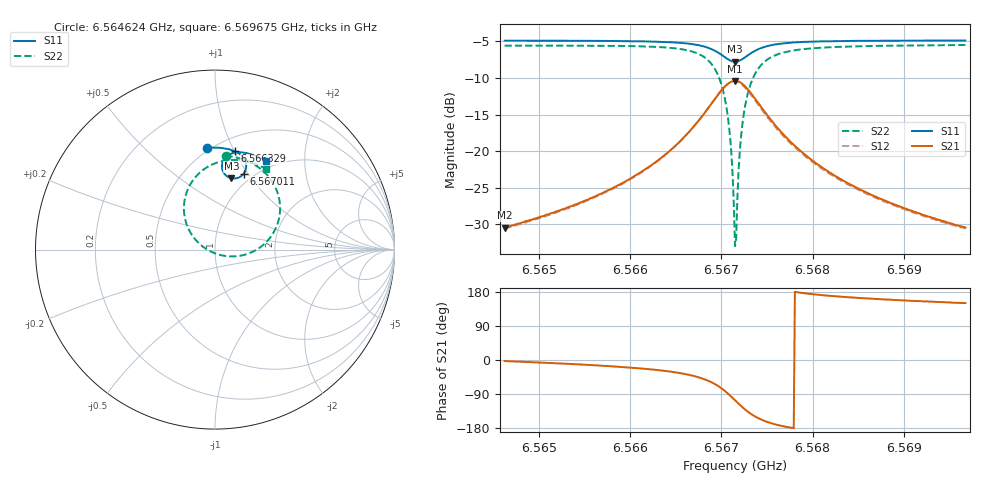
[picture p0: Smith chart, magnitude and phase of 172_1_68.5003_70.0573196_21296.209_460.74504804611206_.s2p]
#  HZ  S  RI  R  50.00
! Rohde & Schwarz Vector Network Analyzer
! Rohde-Schwarz,ZNB20-2Port,1311601062101988,3.16
! Created: UTC 3/20/2024, 5:11:22 PM
! freq[Hz]  re:S11  im:S11  re:S21  im:S21  re:S12  im:S12  re:S22  im:S22
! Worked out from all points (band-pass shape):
!   401 points, 6.564624 GHz to 6.569675 GHz, reference 50 ohm
!   highest |S21| = -10.40 dB at 6.56715 GHz (marker M1); lowest = -30.5 dB at 6.564624 GHz (marker M2)
!   |S21| within 3 dB of the highest: 6.566898 GHz to 6.567404 GHz (505.6 kHz wide, 0.0077 % of centre)
!   lowest |S11| = -7.8 dB at 6.56715 GHz (marker M3), VSWR 2.38, Z = 42.4 + j40.4 ohm
!   |S11| at or under -10 dB: nowhere
!   |S22| runs from -33.0 to -5.5 dB; largest |S21 - S12| = 0.015
!   S11 on the Smith chart (normalised r, x): 6.564624 GHz: 0.48, +0.81; 6.566329 GHz: 0.63, +1.01; 6.567011 GHz: 0.90, +0.95; 6.569675 GHz: 0.89, +1.31
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6.5646244e9  -0.0422 0.5675  0.03 -0.0013  0.0296 -0.00185  0.0587 0.5227
6.5654704e9  0.0282 0.567  0.0439 -0.00932  0.0433 -0.00999  0.142 0.5064
6.5663165e9  0.1102 0.5482  0.0782 -0.0398  0.077 -0.0406  0.2623 0.4429
6.5663291e9  0.1116 0.5475  0.0792 -0.0406  0.0779 -0.0416  0.2646 0.4408
6.5666069e9  0.1452 0.5261  0.1015 -0.0771  0.1 -0.0786  0.3247 0.3693
6.566809e9  0.1693 0.4909  0.1148 -0.1381  0.1121 -0.141  0.3619 0.2513
6.5669226e9  0.1732 0.4562  0.1033 -0.1992  0.0981 -0.203  0.3453 0.1351
6.567011e9  0.1593 0.4223  0.0622 -0.257  0.0532 -0.2604  0.2701 0.027
6.5670489e9  0.1457 0.4092  0.0309 -0.2786  0.0198 -0.2803  0.2116 -0.0112
6.5670868e9  0.1277 0.3996  -0.00877 -0.2928  -0.0214 -0.2922  0.1385 -0.0346
6.567112e9  0.1135 0.3965  -0.0383 -0.2962  -0.0517 -0.2935  0.0846 -0.038
6.5671373e9  0.0988 0.3965  -0.069 -0.2938  -0.0824 -0.2886  0.0299 -0.0304
6.5671499e9  0.0914 0.3977  -0.0842 -0.2901  -0.0973 -0.2838  0.00326 -0.0222
6.5671752e9  0.0772 0.4025  -0.1133 -0.2789  -0.1252 -0.2701  -0.0464 0.00186
6.5672004e9  0.0648 0.4104  -0.1387 -0.2623  -0.1489 -0.2517  -0.0892 0.0347
6.5672383e9  0.0504 0.4258  -0.1686 -0.2307  -0.1758 -0.2184  -0.1367 0.0944
6.5672888e9  0.0403 0.4493  -0.1911 -0.184  -0.1944 -0.1716  -0.1684 0.1789
6.5673519e9  0.04 0.4767  -0.1972 -0.1306  -0.1968 -0.1199  -0.1699 0.2726
6.5675792e9  0.0782 0.5289  -0.1509 -0.0289  -0.1475 -0.0243  -0.0666 0.4441
6.5679959e9  0.1414 0.5422  -0.0859 0.00948  -0.0839 0.0107  0.0761 0.4985
6.568842e9  0.2233 0.5233  -0.0419 0.0159  -0.0408 0.0162  0.2078 0.4827
6.5696754e9  0.2862 0.4938  -0.0261 0.015  -0.0255 0.0151  0.2845 0.449
